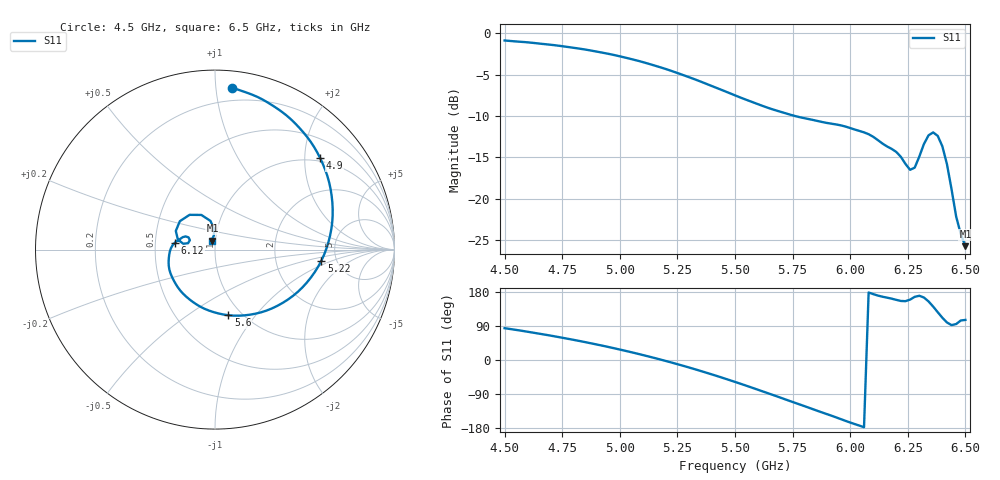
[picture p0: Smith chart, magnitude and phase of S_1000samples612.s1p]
! TOUCHSTONE file generated by CST MICROWAVE STUDIO
! Date and time: Fri Oct 28 18:45:11 2022
! Project name: L.cst
! Parameters = {Di=1.27; Epsilon_r=1.56; InnerDiameter=1.27; Length=2; Lf=10; Lg=60; OuterConductorThickness=0.2921; OuterDiameter=3.6; Wf=3; Wp=41.2; de=1.5; df=6.8; g=0.8; gx=3.70401; gy=3.18383; h=2.34; hf=1.524; px=14.3492; py=8.08314; w=9.7; wx=10.6452; wy=4.89931}
! Header version: 2018
! Port assignment regex: !\s*Touchstone port\s*([0-9]+)\s*=\s*(CST MWS port|CST DS port)\s*([0-9]+|Zmin|Zmax)\s*\(\"(.*)\"\)(\s*mode\s*([0-9]+))?.*
! Touchstone port assignment:
! Touchstone port 1 = CST MWS port 1 ("")
# GHz S DB R 50
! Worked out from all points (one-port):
!   101 points, 4.5 GHz to 6.5 GHz, reference 50 ohm
!   lowest |S11| = -25.7 dB at 6.5 GHz (marker M1), VSWR 1.11, Z = 48.4 + j4.82 ohm
!   |S11| at or under -10 dB: 5.762 GHz to end of sweep
!   S11 on the Smith chart (normalised r, x): 4.5 GHz: 0.11, +1.10; 4.9 GHz: 0.93, +2.37; 5.22 GHz: 3.80, -0.73; 5.6 GHz: 0.87, -0.74; 6.12 GHz: 0.63, +0.05; 6.5 GHz: 0.97, +0.10
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4.5  -0.85 84.0
4.62  -1.13 72.5
4.76  -1.58 57.6
4.9  -2.20 40.9
5  -2.77 27.6
5.1  -3.47 13.1
5.22  -4.50 -5.9
5.26  -4.89 -12.7
5.38  -6.15 -34.4
5.5  -7.49 -57.8
5.6  -8.56 -78.6
5.76  -9.99 -112.9
5.88  -10.73 -138.8
6  -11.45 -165.0
6.12  -12.90 170.0
6.2  -14.34 158.7
6.26  -16.50 159.4
6.28  -16.24 166.6
6.3  -14.90 169.6
6.34  -12.33 154.6
6.36  -11.98 141.0
6.38  -12.40 126.2
6.4  -13.66 111.5
6.42  -15.82 99.0
6.44  -18.87 92.0
6.46  -22.17 94.9
6.48  -24.27 104.2
6.5  -25.74 105.8
